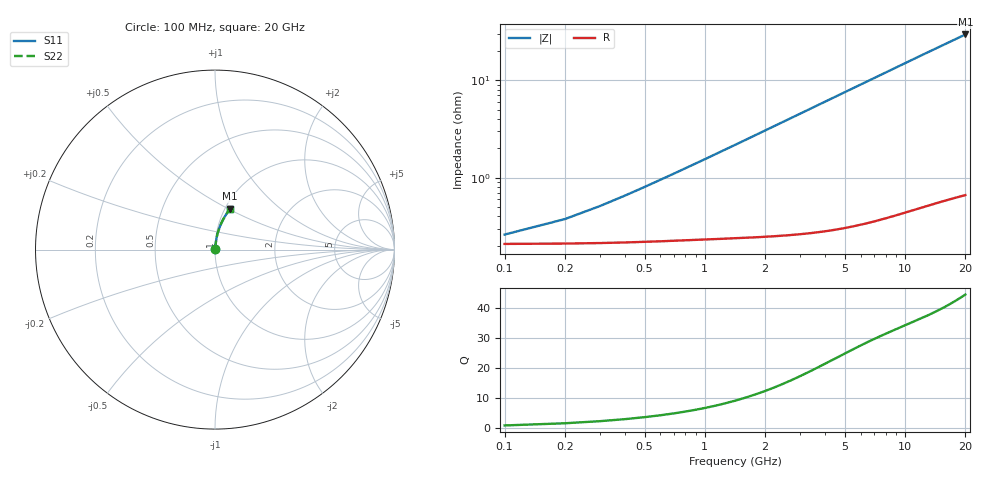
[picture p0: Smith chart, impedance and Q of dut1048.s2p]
! Touchstone file exported from HFSS 2026.1.0
!  File:  C:/ffzhzh/LocalFiles/Ansys_Project_Files/temp_train_TMRDL_1048_1783160338_18472.aedt
!  Generated:  06:20:11 PM Jul  4, 2026
!  Design:  TMRDL
!  Project:  temp_train_TMRDL_1048_1783160338_18472
! Variables:
!  h_bsmrdl = 2um
!  h_ox = 20um
!  h_rdl = 5um
!  h_sub = 80um
!  h_tmrdl = 3.38um
!  h_tsv = 80um
!  h_via = 3um
!  l_bsmrdl = 300um
!  l_sub = 597.44um
!  l_tmrdl = 197.44um
!  m_sub = 200um
!  pitch = 45.95um
!  r_tsv = 6um
!  s_tmrdl = 10um
!  w_bsmrdl = 18um
!  w_sub = 500um
!  w_tmrdl = 10.65um
!  x_tsv_center1 = 202.765um
!  x_tsv_center2 = 520.765um
!  x_tsv_center3 = 728.855um
!  x_tsv_center4 = 1046.855um
!  x_tsv_center5 = 1254.945um
!  x_tsv_center6 = 1572.945um
# GHz S MA R 50.000000
! Terminal data exported
! Port[1] = TM_RDL1_1_T1
! Port[2] = TM_RDL1_1_T2
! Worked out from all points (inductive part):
!   200 points, 100 MHz to 20 GHz, reference 50 ohm
!   read as one part in series: L = 245 pH near 500 MHz
!   highest Q = 44.6 at 20 GHz (marker M1), where L = 235 pH
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0.1  0.002478 32.7  0.9979 -0.1  0.9979 -0.1  0.002478 32.7
! Gamma 0 0 0 0
! Port Impedance 50 0 50 0
0.2  0.003404 51.7  0.9979 -0.2  0.9979 -0.2  0.003404 51.7
0.3  0.004537 61.7  0.9979 -0.3  0.9979 -0.3  0.004537 61.7
0.4  0.005748 67.6  0.9978 -0.4  0.9978 -0.4  0.005748 67.6
0.5  0.006991 71.3  0.9978 -0.5  0.9978 -0.5  0.006991 71.3
0.6  0.008249 73.8  0.9978 -0.6  0.9978 -0.6  0.008249 73.8
0.8  0.01078 77.1  0.9977 -0.8  0.9977 -0.8  0.01078 77.1
1.1  0.01461 79.7  0.9976 -1.1  0.9976 -1.1  0.01461 79.7
1.5  0.01973 81.5  0.9974 -1.5  0.9974 -1.5  0.01973 81.5
1.8  0.02358 82.3  0.9973 -1.8  0.9973 -1.8  0.02358 82.3
2.1  0.02743 82.7  0.9972 -2.1  0.9972 -2.1  0.02743 82.7
2.7  0.03515 83.1  0.9968 -2.7  0.9968 -2.7  0.03515 83.1
3.5  0.04541 83.1  0.9963 -3.5  0.9963 -3.5  0.04541 83.1
4.2  0.05437 82.9  0.9957 -4.1  0.9957 -4.1  0.05437 82.9
5  0.06457 82.4  0.9949 -4.9  0.9949 -4.9  0.06457 82.4
5.9  0.07598 81.8  0.9939 -5.8  0.9939 -5.8  0.07598 81.8
6.8  0.08732 81.0  0.9927 -6.7  0.9927 -6.7  0.08732 81.0
8.3  0.106 79.8  0.9905 -8.1  0.9905 -8.1  0.106 79.8
10.1  0.1282 78.2  0.9874 -9.8  0.9874 -9.8  0.1282 78.2
13.4  0.1679 75.3  0.9807 -12.9  0.9807 -12.9  0.1679 75.3
16.7  0.2063 72.4  0.9727 -16.0  0.9727 -16.0  0.2063 72.4
20  0.2434 69.5  0.9636 -19.0  0.9636 -19.0  0.2434 69.5
